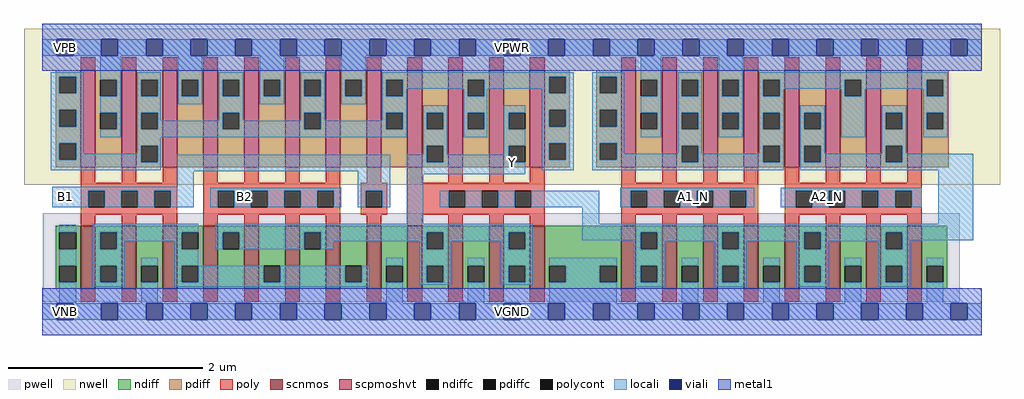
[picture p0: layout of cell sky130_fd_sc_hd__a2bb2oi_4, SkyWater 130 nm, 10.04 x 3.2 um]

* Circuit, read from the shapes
.subckt sky130_fd_sc_hd__a2bb2oi_4 A1_N A2_N B1 B2 VGND VNB VPB VPWR Y
XM1 n1 B1 VGND VNB sky130_fd_pr__nfet_01v8 w=0.65 l=0.15 m=4
XM2 Y B2 n1 VNB sky130_fd_pr__nfet_01v8 w=0.65 l=0.15 m=4
XM3 Y n2 VGND VNB sky130_fd_pr__nfet_01v8 w=0.65 l=0.15 m=4
XM4 n2 A1_N VGND VNB sky130_fd_pr__nfet_01v8 w=0.65 l=0.15 m=4
XM5 n2 A2_N VGND VNB sky130_fd_pr__nfet_01v8 w=0.65 l=0.15 m=4
XM6 VPWR B1 n3 VPB sky130_fd_pr__pfet_01v8_hvt w=1 l=0.15 m=4
XM7 n3 B2 VPWR VPB sky130_fd_pr__pfet_01v8_hvt w=1 l=0.15 m=4
XM8 Y n2 n3 VPB sky130_fd_pr__pfet_01v8_hvt w=1 l=0.15 m=4
XM9 VPWR A1_N n4 VPB sky130_fd_pr__pfet_01v8_hvt w=1 l=0.15 m=4
XM10 n2 A2_N n4 VPB sky130_fd_pr__pfet_01v8_hvt w=1 l=0.15 m=4
.ends

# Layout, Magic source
magic
tech sky130B
magscale 1 2
<< nwell >>
rect -38 261 1970 582
<< pwell >>
rect 1 21 1887 203
rect 30 -17 64 21
<< scnmos >>
rect 79 47 109 177
rect 163 47 193 177
rect 247 47 277 177
rect 331 47 361 177
rect 415 47 445 177
rect 499 47 529 177
rect 583 47 613 177
rect 667 47 697 177
rect 751 47 781 177
rect 835 47 865 177
rect 919 47 949 177
rect 1003 47 1033 177
rect 1191 47 1221 177
rect 1275 47 1305 177
rect 1359 47 1389 177
rect 1443 47 1473 177
rect 1527 47 1557 177
rect 1611 47 1641 177
rect 1695 47 1725 177
rect 1779 47 1809 177
<< scpmoshvt >>
rect 79 297 109 497
rect 163 297 193 497
rect 247 297 277 497
rect 331 297 361 497
rect 415 297 445 497
rect 499 297 529 497
rect 583 297 613 497
rect 667 297 697 497
rect 751 297 781 497
rect 835 297 865 497
rect 919 297 949 497
rect 1003 297 1033 497
rect 1191 297 1221 497
rect 1275 297 1305 497
rect 1359 297 1389 497
rect 1443 297 1473 497
rect 1527 297 1557 497
rect 1611 297 1641 497
rect 1695 297 1725 497
rect 1779 297 1809 497
<< ndiff >>
rect 27 163 79 177
rect 27 129 35 163
rect 69 129 79 163
rect 27 95 79 129
rect 27 61 35 95
rect 69 61 79 95
rect 27 47 79 61
rect 109 163 163 177
rect 109 129 119 163
rect 153 129 163 163
rect 109 95 163 129
rect 109 61 119 95
rect 153 61 163 95
rect 109 47 163 61
rect 193 95 247 177
rect 193 61 203 95
rect 237 61 247 95
rect 193 47 247 61
rect 277 163 331 177
rect 277 129 287 163
rect 321 129 331 163
rect 277 95 331 129
rect 277 61 287 95
rect 321 61 331 95
rect 277 47 331 61
rect 361 163 415 177
rect 361 129 371 163
rect 405 129 415 163
rect 361 47 415 129
rect 445 95 499 177
rect 445 61 455 95
rect 489 61 499 95
rect 445 47 499 61
rect 529 163 583 177
rect 529 129 539 163
rect 573 129 583 163
rect 529 47 583 129
rect 613 95 667 177
rect 613 61 623 95
rect 657 61 667 95
rect 613 47 667 61
rect 697 95 751 177
rect 697 61 707 95
rect 741 61 751 95
rect 697 47 751 61
rect 781 163 835 177
rect 781 129 791 163
rect 825 129 835 163
rect 781 95 835 129
rect 781 61 791 95
rect 825 61 835 95
rect 781 47 835 61
rect 865 95 919 177
rect 865 61 875 95
rect 909 61 919 95
rect 865 47 919 61
rect 949 163 1003 177
rect 949 129 959 163
rect 993 129 1003 163
rect 949 95 1003 129
rect 949 61 959 95
rect 993 61 1003 95
rect 949 47 1003 61
rect 1033 95 1191 177
rect 1033 61 1043 95
rect 1077 61 1147 95
rect 1181 61 1191 95
rect 1033 47 1191 61
rect 1221 163 1275 177
rect 1221 129 1231 163
rect 1265 129 1275 163
rect 1221 95 1275 129
rect 1221 61 1231 95
rect 1265 61 1275 95
rect 1221 47 1275 61
rect 1305 95 1359 177
rect 1305 61 1315 95
rect 1349 61 1359 95
rect 1305 47 1359 61
rect 1389 163 1443 177
rect 1389 129 1399 163
rect 1433 129 1443 163
rect 1389 95 1443 129
rect 1389 61 1399 95
rect 1433 61 1443 95
rect 1389 47 1443 61
rect 1473 95 1527 177
rect 1473 61 1483 95
rect 1517 61 1527 95
rect 1473 47 1527 61
rect 1557 163 1611 177
rect 1557 129 1567 163
rect 1601 129 1611 163
rect 1557 95 1611 129
rect 1557 61 1567 95
rect 1601 61 1611 95
rect 1557 47 1611 61
rect 1641 95 1695 177
rect 1641 61 1651 95
rect 1685 61 1695 95
rect 1641 47 1695 61
rect 1725 163 1779 177
rect 1725 129 1735 163
rect 1769 129 1779 163
rect 1725 95 1779 129
rect 1725 61 1735 95
rect 1769 61 1779 95
rect 1725 47 1779 61
rect 1809 95 1861 177
rect 1809 61 1819 95
rect 1853 61 1861 95
rect 1809 47 1861 61
<< pdiff >>
rect 27 483 79 497
rect 27 449 35 483
rect 69 449 79 483
rect 27 415 79 449
rect 27 381 35 415
rect 69 381 79 415
rect 27 347 79 381
rect 27 313 35 347
rect 69 313 79 347
rect 27 297 79 313
rect 109 477 163 497
rect 109 443 119 477
rect 153 443 163 477
rect 109 409 163 443
rect 109 375 119 409
rect 153 375 163 409
rect 109 297 163 375
rect 193 477 247 497
rect 193 443 203 477
rect 237 443 247 477
rect 193 409 247 443
rect 193 375 203 409
rect 237 375 247 409
rect 193 341 247 375
rect 193 307 203 341
rect 237 307 247 341
rect 193 297 247 307
rect 277 477 331 497
rect 277 443 287 477
rect 321 443 331 477
rect 277 297 331 443
rect 361 477 415 497
rect 361 443 371 477
rect 405 443 415 477
rect 361 409 415 443
rect 361 375 371 409
rect 405 375 415 409
rect 361 297 415 375
rect 445 477 499 497
rect 445 443 455 477
rect 489 443 499 477
rect 445 297 499 443
rect 529 477 583 497
rect 529 443 539 477
rect 573 443 583 477
rect 529 409 583 443
rect 529 375 539 409
rect 573 375 583 409
rect 529 297 583 375
rect 613 477 667 497
rect 613 443 623 477
rect 657 443 667 477
rect 613 297 667 443
rect 697 477 751 497
rect 697 443 707 477
rect 741 443 751 477
rect 697 409 751 443
rect 697 375 707 409
rect 741 375 751 409
rect 697 297 751 375
rect 781 409 835 497
rect 781 375 791 409
rect 825 375 835 409
rect 781 341 835 375
rect 781 307 791 341
rect 825 307 835 341
rect 781 297 835 307
rect 865 477 919 497
rect 865 443 875 477
rect 909 443 919 477
rect 865 409 919 443
rect 865 375 875 409
rect 909 375 919 409
rect 865 297 919 375
rect 949 409 1003 497
rect 949 375 959 409
rect 993 375 1003 409
rect 949 341 1003 375
rect 949 307 959 341
rect 993 307 1003 341
rect 949 297 1003 307
rect 1033 483 1085 497
rect 1033 449 1043 483
rect 1077 449 1085 483
rect 1033 415 1085 449
rect 1033 381 1043 415
rect 1077 381 1085 415
rect 1033 347 1085 381
rect 1033 313 1043 347
rect 1077 313 1085 347
rect 1033 297 1085 313
rect 1139 483 1191 497
rect 1139 449 1147 483
rect 1181 449 1191 483
rect 1139 415 1191 449
rect 1139 381 1147 415
rect 1181 381 1191 415
rect 1139 347 1191 381
rect 1139 313 1147 347
rect 1181 313 1191 347
rect 1139 297 1191 313
rect 1221 477 1275 497
rect 1221 443 1231 477
rect 1265 443 1275 477
rect 1221 409 1275 443
rect 1221 375 1231 409
rect 1265 375 1275 409
rect 1221 297 1275 375
rect 1305 477 1359 497
rect 1305 443 1315 477
rect 1349 443 1359 477
rect 1305 409 1359 443
rect 1305 375 1315 409
rect 1349 375 1359 409
rect 1305 341 1359 375
rect 1305 307 1315 341
rect 1349 307 1359 341
rect 1305 297 1359 307
rect 1389 477 1443 497
rect 1389 443 1399 477
rect 1433 443 1443 477
rect 1389 409 1443 443
rect 1389 375 1399 409
rect 1433 375 1443 409
rect 1389 297 1443 375
rect 1473 477 1527 497
rect 1473 443 1483 477
rect 1517 443 1527 477
rect 1473 409 1527 443
rect 1473 375 1483 409
rect 1517 375 1527 409
rect 1473 341 1527 375
rect 1473 307 1483 341
rect 1517 307 1527 341
rect 1473 297 1527 307
rect 1557 409 1611 497
rect 1557 375 1567 409
rect 1601 375 1611 409
rect 1557 341 1611 375
rect 1557 307 1567 341
rect 1601 307 1611 341
rect 1557 297 1611 307
rect 1641 477 1695 497
rect 1641 443 1651 477
rect 1685 443 1695 477
rect 1641 297 1695 443
rect 1725 409 1779 497
rect 1725 375 1735 409
rect 1769 375 1779 409
rect 1725 341 1779 375
rect 1725 307 1735 341
rect 1769 307 1779 341
rect 1725 297 1779 307
rect 1809 477 1865 497
rect 1809 443 1819 477
rect 1853 443 1865 477
rect 1809 409 1865 443
rect 1809 375 1819 409
rect 1853 375 1865 409
rect 1809 297 1865 375
<< ndiffc >>
rect 35 129 69 163
rect 35 61 69 95
rect 119 129 153 163
rect 119 61 153 95
rect 203 61 237 95
rect 287 129 321 163
rect 287 61 321 95
rect 371 129 405 163
rect 455 61 489 95
rect 539 129 573 163
rect 623 61 657 95
rect 707 61 741 95
rect 791 129 825 163
rect 791 61 825 95
rect 875 61 909 95
rect 959 129 993 163
rect 959 61 993 95
rect 1043 61 1077 95
rect 1147 61 1181 95
rect 1231 129 1265 163
rect 1231 61 1265 95
rect 1315 61 1349 95
rect 1399 129 1433 163
rect 1399 61 1433 95
rect 1483 61 1517 95
rect 1567 129 1601 163
rect 1567 61 1601 95
rect 1651 61 1685 95
rect 1735 129 1769 163
rect 1735 61 1769 95
rect 1819 61 1853 95
<< pdiffc >>
rect 35 449 69 483
rect 35 381 69 415
rect 35 313 69 347
rect 119 443 153 477
rect 119 375 153 409
rect 203 443 237 477
rect 203 375 237 409
rect 203 307 237 341
rect 287 443 321 477
rect 371 443 405 477
rect 371 375 405 409
rect 455 443 489 477
rect 539 443 573 477
rect 539 375 573 409
rect 623 443 657 477
rect 707 443 741 477
rect 707 375 741 409
rect 791 375 825 409
rect 791 307 825 341
rect 875 443 909 477
rect 875 375 909 409
rect 959 375 993 409
rect 959 307 993 341
rect 1043 449 1077 483
rect 1043 381 1077 415
rect 1043 313 1077 347
rect 1147 449 1181 483
rect 1147 381 1181 415
rect 1147 313 1181 347
rect 1231 443 1265 477
rect 1231 375 1265 409
rect 1315 443 1349 477
rect 1315 375 1349 409
rect 1315 307 1349 341
rect 1399 443 1433 477
rect 1399 375 1433 409
rect 1483 443 1517 477
rect 1483 375 1517 409
rect 1483 307 1517 341
rect 1567 375 1601 409
rect 1567 307 1601 341
rect 1651 443 1685 477
rect 1735 375 1769 409
rect 1735 307 1769 341
rect 1819 443 1853 477
rect 1819 375 1853 409
<< poly >>
rect 79 497 109 523
rect 163 497 193 523
rect 247 497 277 523
rect 331 497 361 523
rect 415 497 445 523
rect 499 497 529 523
rect 583 497 613 523
rect 667 497 697 523
rect 751 497 781 523
rect 835 497 865 523
rect 919 497 949 523
rect 1003 497 1033 523
rect 1191 497 1221 523
rect 1275 497 1305 523
rect 1359 497 1389 523
rect 1443 497 1473 523
rect 1527 497 1557 523
rect 1611 497 1641 523
rect 1695 497 1725 523
rect 1779 497 1809 523
rect 79 265 109 297
rect 163 265 193 297
rect 247 265 277 297
rect 79 249 277 265
rect 79 215 94 249
rect 128 215 162 249
rect 196 215 230 249
rect 264 215 277 249
rect 79 199 277 215
rect 79 177 109 199
rect 163 177 193 199
rect 247 177 277 199
rect 331 265 361 297
rect 415 265 445 297
rect 499 265 529 297
rect 583 265 613 297
rect 667 265 697 297
rect 751 265 781 297
rect 835 265 865 297
rect 919 265 949 297
rect 1003 265 1033 297
rect 331 249 613 265
rect 331 215 361 249
rect 395 215 429 249
rect 463 215 497 249
rect 531 215 565 249
rect 599 215 613 249
rect 331 199 613 215
rect 655 249 709 265
rect 655 215 665 249
rect 699 215 709 249
rect 655 199 709 215
rect 751 249 1033 265
rect 751 215 836 249
rect 870 215 904 249
rect 938 215 972 249
rect 1006 215 1033 249
rect 751 199 1033 215
rect 331 177 361 199
rect 415 177 445 199
rect 499 177 529 199
rect 583 177 613 199
rect 667 177 697 199
rect 751 177 781 199
rect 835 177 865 199
rect 919 177 949 199
rect 1003 177 1033 199
rect 1191 265 1221 297
rect 1275 265 1305 297
rect 1359 265 1389 297
rect 1443 265 1473 297
rect 1191 249 1473 265
rect 1191 215 1210 249
rect 1244 215 1278 249
rect 1312 215 1346 249
rect 1380 215 1414 249
rect 1448 215 1473 249
rect 1191 199 1473 215
rect 1191 177 1221 199
rect 1275 177 1305 199
rect 1359 177 1389 199
rect 1443 177 1473 199
rect 1527 265 1557 297
rect 1611 265 1641 297
rect 1695 265 1725 297
rect 1779 265 1809 297
rect 1527 249 1809 265
rect 1527 215 1550 249
rect 1584 215 1618 249
rect 1652 215 1686 249
rect 1720 215 1754 249
rect 1788 215 1809 249
rect 1527 199 1809 215
rect 1527 177 1557 199
rect 1611 177 1641 199
rect 1695 177 1725 199
rect 1779 177 1809 199
rect 79 21 109 47
rect 163 21 193 47
rect 247 21 277 47
rect 331 21 361 47
rect 415 21 445 47
rect 499 21 529 47
rect 583 21 613 47
rect 667 21 697 47
rect 751 21 781 47
rect 835 21 865 47
rect 919 21 949 47
rect 1003 21 1033 47
rect 1191 21 1221 47
rect 1275 21 1305 47
rect 1359 21 1389 47
rect 1443 21 1473 47
rect 1527 21 1557 47
rect 1611 21 1641 47
rect 1695 21 1725 47
rect 1779 21 1809 47
<< polycont >>
rect 94 215 128 249
rect 162 215 196 249
rect 230 215 264 249
rect 361 215 395 249
rect 429 215 463 249
rect 497 215 531 249
rect 565 215 599 249
rect 665 215 699 249
rect 836 215 870 249
rect 904 215 938 249
rect 972 215 1006 249
rect 1210 215 1244 249
rect 1278 215 1312 249
rect 1346 215 1380 249
rect 1414 215 1448 249
rect 1550 215 1584 249
rect 1618 215 1652 249
rect 1686 215 1720 249
rect 1754 215 1788 249
<< locali >>
rect 0 527 29 561
rect 63 527 121 561
rect 155 527 213 561
rect 247 527 305 561
rect 339 527 397 561
rect 431 527 489 561
rect 523 527 581 561
rect 615 527 673 561
rect 707 527 765 561
rect 799 527 857 561
rect 891 527 949 561
rect 983 527 1041 561
rect 1075 527 1133 561
rect 1167 527 1225 561
rect 1259 527 1317 561
rect 1351 527 1409 561
rect 1443 527 1501 561
rect 1535 527 1593 561
rect 1627 527 1685 561
rect 1719 527 1777 561
rect 1811 527 1869 561
rect 1903 527 1932 561
rect 17 483 85 493
rect 17 449 35 483
rect 69 449 85 483
rect 17 415 85 449
rect 17 381 35 415
rect 69 381 85 415
rect 17 347 85 381
rect 119 477 161 527
rect 153 443 161 477
rect 119 409 161 443
rect 153 375 161 409
rect 119 359 161 375
rect 195 477 243 493
rect 195 443 203 477
rect 237 443 243 477
rect 195 409 243 443
rect 279 477 329 527
rect 279 443 287 477
rect 321 443 329 477
rect 279 427 329 443
rect 363 477 413 493
rect 363 443 371 477
rect 405 443 413 477
rect 195 375 203 409
rect 237 393 243 409
rect 363 409 413 443
rect 447 477 497 527
rect 447 443 455 477
rect 489 443 497 477
rect 447 427 497 443
rect 531 477 581 493
rect 531 443 539 477
rect 573 443 581 477
rect 363 393 371 409
rect 237 375 371 393
rect 405 393 413 409
rect 531 409 581 443
rect 615 477 665 527
rect 615 443 623 477
rect 657 443 665 477
rect 615 427 665 443
rect 699 483 1093 493
rect 699 477 1043 483
rect 699 443 707 477
rect 741 459 875 477
rect 741 443 749 459
rect 531 393 539 409
rect 405 375 539 393
rect 573 393 581 409
rect 699 409 749 443
rect 867 443 875 459
rect 909 459 1043 477
rect 909 443 915 459
rect 699 393 707 409
rect 573 375 707 393
rect 741 375 749 409
rect 195 359 749 375
rect 783 409 833 425
rect 783 375 791 409
rect 825 375 833 409
rect 17 313 35 347
rect 69 325 85 347
rect 195 341 243 359
rect 195 325 203 341
rect 69 313 203 325
rect 17 307 203 313
rect 237 307 243 341
rect 783 341 833 375
rect 867 409 915 443
rect 1027 449 1043 459
rect 1077 449 1093 483
rect 867 375 875 409
rect 909 375 915 409
rect 867 359 915 375
rect 949 409 993 425
rect 949 375 959 409
rect 783 323 791 341
rect 17 291 243 307
rect 277 289 715 323
rect 277 257 311 289
rect 20 249 311 257
rect 20 215 94 249
rect 128 215 162 249
rect 196 215 230 249
rect 264 215 311 249
rect 345 249 615 255
rect 345 215 361 249
rect 395 215 429 249
rect 463 215 497 249
rect 531 215 565 249
rect 599 215 615 249
rect 649 249 715 289
rect 649 215 665 249
rect 699 215 715 249
rect 749 307 791 323
rect 825 323 833 341
rect 949 341 993 375
rect 949 323 959 341
rect 825 307 959 323
rect 749 283 993 307
rect 1027 415 1093 449
rect 1027 381 1043 415
rect 1077 381 1093 415
rect 1027 347 1093 381
rect 1027 313 1043 347
rect 1077 313 1093 347
rect 1027 291 1093 313
rect 1131 483 1197 493
rect 1131 449 1147 483
rect 1181 449 1197 483
rect 1131 415 1197 449
rect 1131 381 1147 415
rect 1181 381 1197 415
rect 1131 347 1197 381
rect 1231 477 1273 527
rect 1265 443 1273 477
rect 1231 409 1273 443
rect 1265 375 1273 409
rect 1231 359 1273 375
rect 1308 477 1356 493
rect 1308 443 1315 477
rect 1349 443 1356 477
rect 1308 409 1356 443
rect 1308 375 1315 409
rect 1349 375 1356 409
rect 1131 313 1147 347
rect 1181 325 1197 347
rect 1308 341 1356 375
rect 1391 477 1441 527
rect 1391 443 1399 477
rect 1433 443 1441 477
rect 1391 409 1441 443
rect 1391 375 1399 409
rect 1433 375 1441 409
rect 1391 359 1441 375
rect 1475 477 1862 493
rect 1475 443 1483 477
rect 1517 459 1651 477
rect 1517 443 1525 459
rect 1475 409 1525 443
rect 1643 443 1651 459
rect 1685 459 1819 477
rect 1685 443 1693 459
rect 1475 375 1483 409
rect 1517 375 1525 409
rect 1308 325 1315 341
rect 1181 313 1315 325
rect 1131 307 1315 313
rect 1349 325 1356 341
rect 1475 341 1525 375
rect 1475 325 1483 341
rect 1349 307 1483 325
rect 1517 307 1525 341
rect 1131 291 1525 307
rect 1559 409 1609 425
rect 1559 375 1567 409
rect 1601 375 1609 409
rect 1559 341 1609 375
rect 1643 359 1693 443
rect 1812 443 1819 459
rect 1853 443 1862 477
rect 1727 409 1777 425
rect 1727 375 1735 409
rect 1769 375 1777 409
rect 1559 307 1567 341
rect 1601 325 1609 341
rect 1727 341 1777 375
rect 1812 409 1862 443
rect 1812 375 1819 409
rect 1853 375 1862 409
rect 1812 359 1862 375
rect 1727 325 1735 341
rect 1601 307 1735 325
rect 1769 325 1777 341
rect 1769 307 1915 325
rect 1559 291 1915 307
rect 749 181 783 283
rect 1189 249 1464 255
rect 817 215 836 249
rect 870 215 904 249
rect 938 215 972 249
rect 1006 215 1145 249
rect 1189 215 1210 249
rect 1244 215 1278 249
rect 1312 215 1346 249
rect 1380 215 1414 249
rect 1448 215 1464 249
rect 1519 249 1809 255
rect 1519 215 1550 249
rect 1584 215 1618 249
rect 1652 215 1686 249
rect 1720 215 1754 249
rect 1788 215 1809 249
rect 1111 181 1145 215
rect 1843 181 1915 291
rect 35 163 69 179
rect 35 95 69 129
rect 35 17 69 61
rect 103 163 321 181
rect 103 129 119 163
rect 153 145 287 163
rect 153 129 169 145
rect 103 95 169 129
rect 271 129 287 145
rect 355 163 1009 181
rect 355 129 371 163
rect 405 129 539 163
rect 573 145 791 163
rect 573 129 599 145
rect 775 129 791 145
rect 825 145 959 163
rect 825 129 841 145
rect 103 61 119 95
rect 153 61 169 95
rect 103 51 169 61
rect 203 95 237 111
rect 203 17 237 61
rect 271 95 321 129
rect 707 95 741 111
rect 271 61 287 95
rect 321 61 455 95
rect 489 61 623 95
rect 657 61 673 95
rect 271 51 673 61
rect 707 17 741 61
rect 775 95 841 129
rect 943 129 959 145
rect 993 129 1009 163
rect 1111 163 1915 181
rect 1111 147 1231 163
rect 775 61 791 95
rect 825 61 841 95
rect 775 55 841 61
rect 875 95 909 111
rect 875 17 909 61
rect 943 95 1009 129
rect 1215 129 1231 147
rect 1265 145 1399 163
rect 1265 129 1281 145
rect 943 61 959 95
rect 993 61 1009 95
rect 943 55 1009 61
rect 1043 95 1181 111
rect 1077 61 1147 95
rect 1043 17 1181 61
rect 1215 95 1281 129
rect 1383 129 1399 145
rect 1433 145 1567 163
rect 1433 129 1449 145
rect 1215 61 1231 95
rect 1265 61 1281 95
rect 1215 51 1281 61
rect 1315 95 1349 111
rect 1315 17 1349 61
rect 1383 95 1449 129
rect 1551 129 1567 145
rect 1601 145 1735 163
rect 1601 129 1617 145
rect 1383 61 1399 95
rect 1433 61 1449 95
rect 1383 51 1449 61
rect 1483 95 1517 111
rect 1483 17 1517 61
rect 1551 95 1617 129
rect 1719 129 1735 145
rect 1769 147 1915 163
rect 1769 129 1785 147
rect 1551 61 1567 95
rect 1601 61 1617 95
rect 1551 51 1617 61
rect 1651 95 1685 111
rect 1651 17 1685 61
rect 1719 95 1785 129
rect 1719 61 1735 95
rect 1769 61 1785 95
rect 1719 51 1785 61
rect 1819 95 1853 111
rect 1819 17 1853 61
rect 0 -17 29 17
rect 63 -17 121 17
rect 155 -17 213 17
rect 247 -17 305 17
rect 339 -17 397 17
rect 431 -17 489 17
rect 523 -17 581 17
rect 615 -17 673 17
rect 707 -17 765 17
rect 799 -17 857 17
rect 891 -17 949 17
rect 983 -17 1041 17
rect 1075 -17 1133 17
rect 1167 -17 1225 17
rect 1259 -17 1317 17
rect 1351 -17 1409 17
rect 1443 -17 1501 17
rect 1535 -17 1593 17
rect 1627 -17 1685 17
rect 1719 -17 1777 17
rect 1811 -17 1869 17
rect 1903 -17 1932 17
<< viali >>
rect 29 527 63 561
rect 121 527 155 561
rect 213 527 247 561
rect 305 527 339 561
rect 397 527 431 561
rect 489 527 523 561
rect 581 527 615 561
rect 673 527 707 561
rect 765 527 799 561
rect 857 527 891 561
rect 949 527 983 561
rect 1041 527 1075 561
rect 1133 527 1167 561
rect 1225 527 1259 561
rect 1317 527 1351 561
rect 1409 527 1443 561
rect 1501 527 1535 561
rect 1593 527 1627 561
rect 1685 527 1719 561
rect 1777 527 1811 561
rect 1869 527 1903 561
rect 29 -17 63 17
rect 121 -17 155 17
rect 213 -17 247 17
rect 305 -17 339 17
rect 397 -17 431 17
rect 489 -17 523 17
rect 581 -17 615 17
rect 673 -17 707 17
rect 765 -17 799 17
rect 857 -17 891 17
rect 949 -17 983 17
rect 1041 -17 1075 17
rect 1133 -17 1167 17
rect 1225 -17 1259 17
rect 1317 -17 1351 17
rect 1409 -17 1443 17
rect 1501 -17 1535 17
rect 1593 -17 1627 17
rect 1685 -17 1719 17
rect 1777 -17 1811 17
rect 1869 -17 1903 17
<< metal1 >>
rect 0 561 1932 592
rect 0 527 29 561
rect 63 527 121 561
rect 155 527 213 561
rect 247 527 305 561
rect 339 527 397 561
rect 431 527 489 561
rect 523 527 581 561
rect 615 527 673 561
rect 707 527 765 561
rect 799 527 857 561
rect 891 527 949 561
rect 983 527 1041 561
rect 1075 527 1133 561
rect 1167 527 1225 561
rect 1259 527 1317 561
rect 1351 527 1409 561
rect 1443 527 1501 561
rect 1535 527 1593 561
rect 1627 527 1685 561
rect 1719 527 1777 561
rect 1811 527 1869 561
rect 1903 527 1932 561
rect 0 496 1932 527
rect 0 17 1932 48
rect 0 -17 29 17
rect 63 -17 121 17
rect 155 -17 213 17
rect 247 -17 305 17
rect 339 -17 397 17
rect 431 -17 489 17
rect 523 -17 581 17
rect 615 -17 673 17
rect 707 -17 765 17
rect 799 -17 857 17
rect 891 -17 949 17
rect 983 -17 1041 17
rect 1075 -17 1133 17
rect 1167 -17 1225 17
rect 1259 -17 1317 17
rect 1351 -17 1409 17
rect 1443 -17 1501 17
rect 1535 -17 1593 17
rect 1627 -17 1685 17
rect 1719 -17 1777 17
rect 1811 -17 1869 17
rect 1903 -17 1932 17
rect 0 -48 1932 -17
<< labels >>
flabel locali s 950 289 984 323 0 FreeSans 400 0 0 0 Y
port 9 nsew signal output
flabel locali s 1598 221 1632 255 0 FreeSans 400 180 0 0 A2_N
port 2 nsew signal input
flabel locali s 398 221 432 255 0 FreeSans 400 180 0 0 B2
port 4 nsew signal input
flabel locali s 1322 221 1356 255 0 FreeSans 400 0 0 0 A1_N
port 1 nsew signal input
flabel locali s 30 221 64 255 0 FreeSans 400 0 0 0 B1
port 3 nsew signal input
flabel pwell s 30 -17 64 17 0 FreeSans 200 0 0 0 VNB
port 6 nsew ground bidirectional
flabel nwell s 30 527 64 561 0 FreeSans 200 0 0 0 VPB
port 7 nsew power bidirectional
flabel metal1 s 30 -17 64 17 0 FreeSans 200 0 0 0 VGND
port 5 nsew ground bidirectional abutment
flabel metal1 s 30 527 64 561 0 FreeSans 200 0 0 0 VPWR
port 8 nsew power bidirectional abutment
rlabel comment s 0 0 0 0 4 a2bb2oi_4
rlabel metal1 s 0 -48 1932 48 1 VGND
port 5 nsew ground bidirectional abutment
rlabel metal1 s 0 496 1932 592 1 VPWR
port 8 nsew power bidirectional abutment
<< properties >>
string FIXED_BBOX 0 0 1932 544
string GDS_END 3960544
string GDS_FILE $PDKPATH/libs.ref/sky130_fd_sc_hd/gds/sky130_fd_sc_hd.gds
string GDS_START 3946302
string LEFclass CORE
string LEFsite unithd
string LEFsymmetry X Y R90
string path 0.000 0.000 48.300 0.000 
<< end >>
